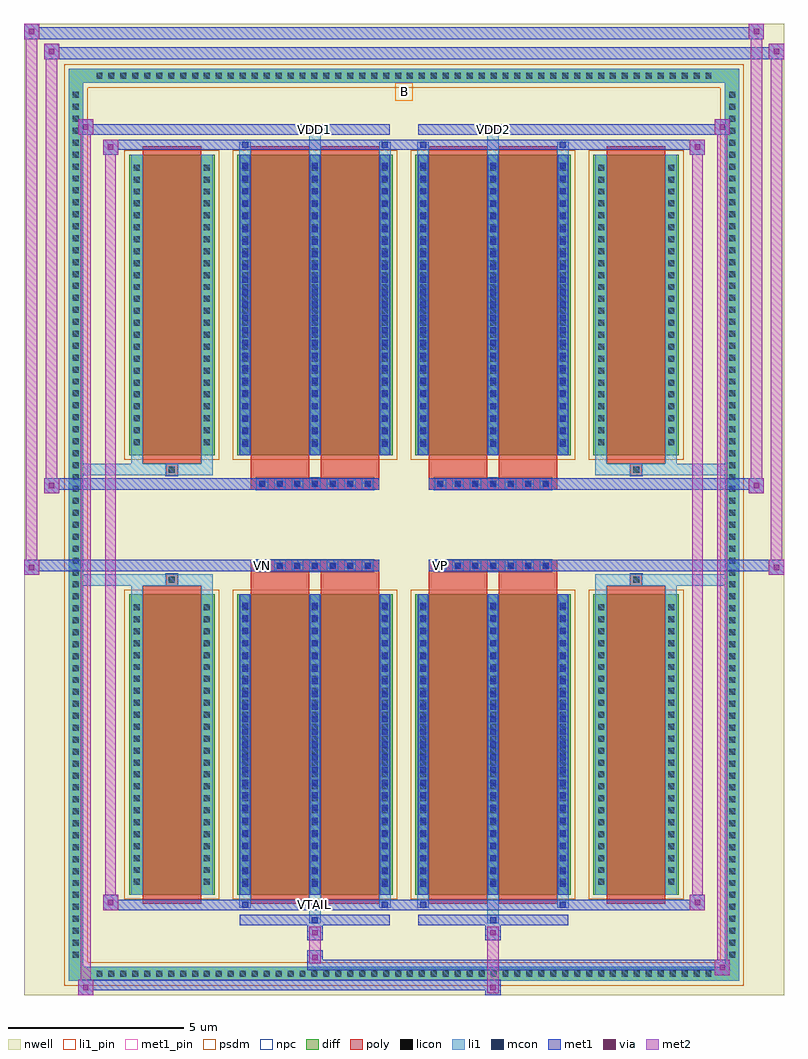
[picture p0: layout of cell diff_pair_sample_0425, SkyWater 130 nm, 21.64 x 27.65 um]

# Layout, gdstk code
import gdstk
lib = gdstk.Library(unit=1e-6, precision=5e-09)
def R(c, l, rs):  # rectangles x0, y0, x1, y1
    for r in rs: c.add(gdstk.rectangle(r[:2], r[2:], *l))
def A(c, l, x, y, w, h, nx, ny, dx, dy):  # array of equal rectangles
    R(c, l, [(x+i*dx, y+j*dy, x+i*dx+w, y+j*dy+h) for i in range(nx) for j in range(ny)])
def P(c, l, *ps):  # polygons
    for p in ps: c.add(gdstk.Polygon(p, *l))
nwell = (64, 20)
diff = (65, 20)
poly = (66, 20)
licon = (66, 44)
li1_pin = (67, 16)
li1 = (67, 20)
mcon = (67, 44)
met1_pin = (68, 16)
met1 = (68, 20)
via = (68, 44)
met2 = (69, 20)
psdm = (94, 20)
npc = (95, 20)

diff_pair_sample_0425 = lib.new_cell('diff_pair_sample_0425')
R(diff_pair_sample_0425, nwell, [(-10.82,-13.39,10.82,14.26), (-8.14,-11.58,-0.01,-0.8), (0.01,-11.58,8.14,-0.8), (-8.14,0.8,-0.01,11.58), (0.01,0.8,8.14,11.58)])
A(diff_pair_sample_0425, diff, -8.875, -12.99, 0.41, 0.41, 52, 2, 0.34, 25.57)
A(diff_pair_sample_0425, diff, -9.55, -12.445, 0.41, 0.41, 1, 73, 0, 0.34)
A(diff_pair_sample_0425, diff, 9.14, -12.445, 0.41, 0.41, 1, 73, 0, 0.34)
R(diff_pair_sample_0425, diff, [(-8.875,-12.99,8.875,-12.58), (-9.55,-12.445,-9.14,12.445), (9.14,-12.445,9.55,12.445), (-7.83,-10.535,-5.39,-1.985), (-4.75,-10.535,-0.32,-1.985), (0.32,-10.535,4.75,-1.985), (5.39,-10.535,7.83,-1.985), (-7.83,1.985,-5.39,10.535), (-4.75,1.985,-0.32,10.535), (0.32,1.985,4.75,10.535), (5.39,1.985,7.83,10.535), (-8.875,12.58,8.875,12.99)])
P(diff_pair_sample_0425, diff, [(9.55,12.99),(-9.55,12.99),(-9.55,-12.58),(-9.14,-12.58),(-9.14,12.58),(9.14,12.58),(9.14,-12.58),(-9.14,-12.58),(-9.55,-12.58),(-9.55,-12.99),(9.55,-12.99)])
A(diff_pair_sample_0425, poly, -4.2, -1.33, 0.33, 0.33, 7, 2, 0.5, 2.33)
A(diff_pair_sample_0425, poly, 0.87, -1.33, 0.33, 0.33, 7, 2, 0.5, 2.33)
R(diff_pair_sample_0425, poly, [(-7.44,-10.785,-5.78,-1.735), (-4.36,-10.785,-2.7,-1.735), (-2.37,-10.785,-0.71,-1.735), (0.71,-10.785,2.37,-1.735), (2.7,-10.785,4.36,-1.735), (5.78,-10.785,7.44,-1.735), (-6.775,-1.735,-6.445,-1.405), (-6.775,-1.735,-6.445,-1.405), (-4.36,-1.735,-2.7,-1.33), (-2.37,-1.735,-0.71,-1.33), (0.71,-1.735,2.37,-1.33), (2.7,-1.735,4.36,-1.33), (6.445,-1.735,6.775,-1.405), (6.445,-1.735,6.775,-1.405), (-4.36,-1.33,-0.71,-1), (0.71,-1.33,4.36,-1), (-4.36,1,-0.71,1.33), (0.71,1,4.36,1.33), (-4.36,1.33,-2.7,1.735), (-2.37,1.33,-0.71,1.735), (0.71,1.33,2.37,1.735), (2.7,1.33,4.36,1.735), (-6.775,1.405,-6.445,1.735), (-6.775,1.405,-6.445,1.735), (6.445,1.405,6.775,1.735), (6.445,1.405,6.775,1.735), (-7.44,1.735,-5.78,10.785), (-4.36,1.735,-2.7,10.785), (-2.37,1.735,-0.71,10.785), (0.71,1.735,2.37,10.785), (2.7,1.735,4.36,10.785), (5.78,1.735,7.44,10.785)])
A(diff_pair_sample_0425, licon, -8.755, -12.87, 0.17, 0.17, 52, 2, 0.34, 25.57)
A(diff_pair_sample_0425, licon, -9.43, -12.325, 0.17, 0.17, 1, 73, 0, 0.34)
A(diff_pair_sample_0425, licon, 9.26, -12.325, 0.17, 0.17, 1, 73, 0, 0.34)
A(diff_pair_sample_0425, licon, -7.69, -10.255, 0.17, 0.17, 1, 24, 0, 0.34)
A(diff_pair_sample_0425, licon, -5.7, -10.255, 0.17, 0.17, 1, 24, 0, 0.34)
A(diff_pair_sample_0425, licon, -4.61, -10.255, 0.17, 0.17, 3, 24, 1.99, 0.34)
A(diff_pair_sample_0425, licon, 0.46, -10.255, 0.17, 0.17, 3, 24, 1.99, 0.34)
A(diff_pair_sample_0425, licon, 5.53, -10.255, 0.17, 0.17, 1, 24, 0, 0.34)
A(diff_pair_sample_0425, licon, 7.52, -10.255, 0.17, 0.17, 1, 24, 0, 0.34)
A(diff_pair_sample_0425, licon, -4.12, -1.25, 0.17, 0.17, 7, 2, 0.5, 2.33)
A(diff_pair_sample_0425, licon, 0.95, -1.25, 0.17, 0.17, 7, 2, 0.5, 2.33)
A(diff_pair_sample_0425, licon, -7.69, 2.265, 0.17, 0.17, 1, 24, 0, 0.34)
A(diff_pair_sample_0425, licon, -5.7, 2.265, 0.17, 0.17, 1, 24, 0, 0.34)
A(diff_pair_sample_0425, licon, -4.61, 2.265, 0.17, 0.17, 3, 24, 1.99, 0.34)
A(diff_pair_sample_0425, licon, 0.46, 2.265, 0.17, 0.17, 3, 24, 1.99, 0.34)
A(diff_pair_sample_0425, licon, 5.53, 2.265, 0.17, 0.17, 1, 24, 0, 0.34)
A(diff_pair_sample_0425, licon, 7.52, 2.265, 0.17, 0.17, 1, 24, 0, 0.34)
R(diff_pair_sample_0425, licon, [(-6.695,-1.655,-6.525,-1.485), (6.525,-1.655,6.695,-1.485), (-6.695,1.485,-6.525,1.655), (6.525,1.485,6.695,1.655)])
R(diff_pair_sample_0425, li1_pin, [(-0.25,12.08,0.25,12.58)])
A(diff_pair_sample_0425, li1, -8.835, -12.95, 0.33, 0.33, 52, 2, 0.34, 25.57)
A(diff_pair_sample_0425, li1, -9.51, -12.405, 0.33, 0.33, 1, 73, 0, 0.34)
A(diff_pair_sample_0425, li1, 9.18, -12.405, 0.33, 0.33, 1, 73, 0, 0.34)
A(diff_pair_sample_0425, li1, -4.69, -10.535, 0.33, 8.55, 3, 2, 1.99, 12.52)
A(diff_pair_sample_0425, li1, 0.38, -10.535, 0.33, 8.55, 3, 2, 1.99, 12.52)
A(diff_pair_sample_0425, li1, -7.77, -10.335, 0.33, 0.33, 1, 24, 0, 0.34)
A(diff_pair_sample_0425, li1, -5.78, -10.335, 0.33, 0.33, 1, 24, 0, 0.34)
A(diff_pair_sample_0425, li1, -4.69, -10.335, 0.33, 0.33, 3, 24, 1.99, 0.34)
A(diff_pair_sample_0425, li1, 0.38, -10.335, 0.33, 0.33, 3, 24, 1.99, 0.34)
A(diff_pair_sample_0425, li1, 5.45, -10.335, 0.33, 0.33, 1, 24, 0, 0.34)
A(diff_pair_sample_0425, li1, 7.44, -10.335, 0.33, 0.33, 1, 24, 0, 0.34)
A(diff_pair_sample_0425, li1, -4.61, -10.305, 0.17, 0.17, 3, 23, 1.99, 0.36)
A(diff_pair_sample_0425, li1, -4.61, -10.305, 0.17, 8.09, 3, 2, 1.99, 12.52)
A(diff_pair_sample_0425, li1, 0.46, -10.305, 0.17, 0.17, 3, 23, 1.99, 0.36)
A(diff_pair_sample_0425, li1, 0.46, -10.305, 0.17, 8.09, 3, 2, 1.99, 12.52)
A(diff_pair_sample_0425, li1, -4.2, -1.33, 0.33, 0.33, 7, 2, 0.5, 2.33)
A(diff_pair_sample_0425, li1, 0.87, -1.33, 0.33, 0.33, 7, 2, 0.5, 2.33)
A(diff_pair_sample_0425, li1, -7.77, 2.185, 0.33, 0.33, 1, 24, 0, 0.34)
A(diff_pair_sample_0425, li1, -5.78, 2.185, 0.33, 0.33, 1, 24, 0, 0.34)
A(diff_pair_sample_0425, li1, -4.69, 2.185, 0.33, 0.33, 3, 24, 1.99, 0.34)
A(diff_pair_sample_0425, li1, 0.38, 2.185, 0.33, 0.33, 3, 24, 1.99, 0.34)
A(diff_pair_sample_0425, li1, 5.45, 2.185, 0.33, 0.33, 1, 24, 0, 0.34)
A(diff_pair_sample_0425, li1, 7.44, 2.185, 0.33, 0.33, 1, 24, 0, 0.34)
A(diff_pair_sample_0425, li1, -4.61, 2.215, 0.17, 0.17, 3, 23, 1.99, 0.36)
A(diff_pair_sample_0425, li1, 0.46, 2.215, 0.17, 0.17, 3, 23, 1.99, 0.36)
R(diff_pair_sample_0425, li1, [(-9.55,-12.99,-9.14,-12.58), (-9.55,-12.99,-9.14,-12.58), (-9.14,-12.99,9.14,-12.58), (9.14,-12.99,9.55,-12.58), (9.14,-12.99,9.55,-12.58), (-9.55,-12.58,-9.14,12.58), (9.14,-12.58,9.55,12.58), (-2.7,-11.34,-2.37,-10.535), (-2.62,-11.34,-2.45,-11.17), (2.37,-11.34,2.7,-10.535), (2.45,-11.34,2.62,-11.17), (-4.69,-10.91,-4.36,-10.535), (-4.61,-10.91,-4.44,-10.74), (-0.71,-10.91,-0.38,-10.535), (-0.63,-10.91,-0.46,-10.74), (0.38,-10.91,0.71,-10.535), (0.46,-10.91,0.63,-10.74), (4.36,-10.91,4.69,-10.535), (4.44,-10.91,4.61,-10.74), (-7.77,-10.535,-7.44,-1.985), (-5.78,-10.535,-5.45,-1.985), (5.45,-10.535,5.78,-1.985), (7.44,-10.535,7.77,-1.985), (-7.77,-1.985,-7.44,-1.405), (-5.78,-1.985,-5.45,-1.405), (5.45,-1.985,5.78,-1.405), (7.44,-1.985,7.77,-1.405), (-9.55,-1.735,-6.775,-1.405), (-7.77,-1.735,-6.775,-1.405), (-6.775,-1.735,-6.445,-1.405), (-6.445,-1.735,-5.45,-1.405), (5.45,-1.735,6.445,-1.405), (6.445,-1.735,6.775,-1.405), (6.445,-1.735,9.55,-1.405), (6.775,-1.735,7.77,-1.405), (-9.55,1.405,-6.775,1.735), (-7.77,1.405,-6.775,1.735), (-7.77,1.405,-7.44,1.985), (-6.775,1.405,-6.445,1.735), (-6.445,1.405,-5.45,1.735), (-5.78,1.405,-5.45,1.985), (5.45,1.405,6.445,1.735), (5.45,1.405,5.78,1.985), (6.445,1.405,6.775,1.735), (6.445,1.405,9.55,1.735), (6.775,1.405,7.77,1.735), (7.44,1.405,7.77,1.985), (-7.77,1.985,-7.44,10.535), (-5.78,1.985,-5.45,10.535), (5.45,1.985,5.78,10.535), (7.44,1.985,7.77,10.535), (-4.69,10.535,-4.36,10.91), (-2.7,10.535,-2.37,11.34), (-0.71,10.535,-0.38,10.91), (0.38,10.535,0.71,10.91), (2.37,10.535,2.7,11.34), (4.36,10.535,4.69,10.91), (-4.61,10.74,-4.44,10.91), (-0.63,10.74,-0.46,10.91), (0.46,10.74,0.63,10.91), (4.44,10.74,4.61,10.91), (-2.62,11.17,-2.45,11.34), (2.45,11.17,2.62,11.34), (-9.55,12.58,-9.14,12.99), (-9.55,12.58,-9.14,12.99), (-9.14,12.58,9.14,12.99), (9.14,12.58,9.55,12.99), (9.14,12.58,9.55,12.99)])
A(diff_pair_sample_0425, mcon, -4.61, -10.305, 0.17, 0.17, 3, 23, 1.99, 0.36)
A(diff_pair_sample_0425, mcon, 0.46, -10.305, 0.17, 0.17, 3, 23, 1.99, 0.36)
A(diff_pair_sample_0425, mcon, -4.12, -1.25, 0.17, 0.17, 7, 2, 0.5, 2.33)
A(diff_pair_sample_0425, mcon, 0.95, -1.25, 0.17, 0.17, 7, 2, 0.5, 2.33)
A(diff_pair_sample_0425, mcon, -4.61, 2.215, 0.17, 0.17, 3, 23, 1.99, 0.36)
A(diff_pair_sample_0425, mcon, 0.46, 2.215, 0.17, 0.17, 3, 23, 1.99, 0.36)
R(diff_pair_sample_0425, mcon, [(-2.62,-11.34,-2.45,-11.17), (2.45,-11.34,2.62,-11.17), (-4.61,-10.91,-4.44,-10.74), (-0.63,-10.91,-0.46,-10.74), (0.46,-10.91,0.63,-10.74), (4.44,-10.91,4.61,-10.74), (-4.61,10.74,-4.44,10.91), (-0.63,10.74,-0.46,10.91), (0.46,10.74,0.63,10.91), (4.44,10.74,4.61,10.91), (-2.62,11.17,-2.45,11.34), (2.45,11.17,2.62,11.34)])
R(diff_pair_sample_0425, met1_pin, [(-2.67,-10.95,-2.4,-10.68), (-4.17,-1.29,-3.9,-1.02), (0.9,-1.29,1.17,-1.02), (-2.67,11.13,-2.4,11.4), (2.4,11.13,2.67,11.4)])
A(diff_pair_sample_0425, met1, -4.67, -10.535, 0.29, 8.55, 3, 2, 1.99, 12.52)
A(diff_pair_sample_0425, met1, 0.4, -10.535, 0.29, 8.55, 3, 2, 1.99, 12.52)
A(diff_pair_sample_0425, met1, -4.67, -10.365, 0.29, 0.29, 3, 23, 1.99, 0.36)
A(diff_pair_sample_0425, met1, 0.4, -10.365, 0.29, 0.29, 3, 23, 1.99, 0.36)
A(diff_pair_sample_0425, met1, -4.18, -1.31, 0.29, 0.29, 7, 2, 0.5, 2.33)
A(diff_pair_sample_0425, met1, 0.89, -1.31, 0.29, 0.29, 7, 2, 0.5, 2.33)
A(diff_pair_sample_0425, met1, -4.67, 2.155, 0.29, 0.29, 3, 23, 1.99, 0.36)
A(diff_pair_sample_0425, met1, 0.4, 2.155, 0.29, 0.29, 3, 23, 1.99, 0.36)
R(diff_pair_sample_0425, met1, [(-9.28,-13.39,-8.85,-12.96), (2.32,-13.39,2.75,-12.96), (-9.28,-13.25,2.75,-12.96), (8.85,-12.82,9.28,-12.39), (-2.75,-12.68,9.28,-12.39), (-2.75,-12.54,-2.32,-12.11), (-2.75,-11.83,-2.32,-11.4), (2.32,-11.83,2.75,-11.4), (-4.67,-11.4,-0.4,-11.11), (-2.68,-11.4,-2.39,-11.11), (0.4,-11.4,4.67,-11.11), (2.39,-11.4,2.68,-11.11), (-8.57,-10.97,-8.14,-10.54), (-8.57,-10.97,-4.67,-10.68), (-4.67,-10.97,-4.38,-10.68), (-4.67,-10.97,-0.4,-10.68), (-0.69,-10.97,-0.4,-10.68), (-0.4,-10.97,0.4,-10.68), (0.4,-10.97,0.69,-10.68), (0.4,-10.97,4.67,-10.68), (4.38,-10.97,4.67,-10.68), (4.67,-10.97,8.57,-10.68), (8.14,-10.97,8.57,-10.54), (-10.82,-1.43,-10.39,-1), (10.39,-1.43,10.82,-1), (-10.82,-1.33,-0.71,-1), (-4.36,-1.33,-0.71,-1), (0.71,-1.33,4.36,-1), (0.71,-1.33,10.82,-1), (-10.25,0.9,-9.82,1.33), (9.82,0.9,10.25,1.33), (-10.25,1,-4.36,1.33), (-4.36,1,-0.71,1.33), (0.71,1,4.36,1.33), (4.36,1,10.25,1.33), (-8.57,10.54,-8.14,10.97), (8.14,10.54,8.57,10.97), (-8.57,10.68,-4.67,10.97), (-4.67,10.68,-4.38,10.97), (-4.67,10.68,-0.4,10.97), (-0.69,10.68,-0.4,10.97), (-0.4,10.68,0.4,10.97), (0.4,10.68,0.69,10.97), (0.4,10.68,4.67,10.97), (4.38,10.68,4.67,10.97), (4.67,10.68,8.57,10.97), (-9.28,11.11,-8.85,11.54), (-9.28,11.11,-4.67,11.4), (-4.67,11.11,-0.4,11.4), (-2.68,11.11,-2.39,11.4), (0.4,11.11,4.67,11.4), (2.39,11.11,2.68,11.4), (4.67,11.11,9.28,11.4), (8.85,11.11,9.28,11.54), (-10.25,13.26,-9.82,13.69), (-10.25,13.26,-8.14,13.59), (-8.14,13.26,8.14,13.59), (8.14,13.26,10.82,13.59), (10.39,13.26,10.82,13.69), (-10.82,13.83,-10.39,14.26), (-10.82,13.83,-8.14,14.16), (-8.14,13.83,8.14,14.16), (8.14,13.83,10.25,14.16), (9.82,13.83,10.25,14.26)])
R(diff_pair_sample_0425, via, [(-9.14,-13.25,-8.99,-13.1), (2.46,-13.25,2.61,-13.1), (8.99,-12.68,9.14,-12.53), (-2.61,-12.4,-2.46,-12.25), (-2.61,-11.69,-2.46,-11.54), (2.46,-11.69,2.61,-11.54), (-8.43,-10.83,-8.28,-10.68), (8.28,-10.83,8.43,-10.68), (-10.68,-1.29,-10.53,-1.14), (10.53,-1.29,10.68,-1.14), (-10.11,1.04,-9.96,1.19), (9.96,1.04,10.11,1.19), (-8.43,10.68,-8.28,10.83), (8.28,10.68,8.43,10.83), (-9.14,11.25,-8.99,11.4), (8.99,11.25,9.14,11.4), (-10.11,13.4,-9.96,13.55), (10.53,13.4,10.68,13.55), (-10.68,13.97,-10.53,14.12), (9.96,13.97,10.11,14.12)])
R(diff_pair_sample_0425, met2, [(-9.28,-13.39,-8.85,-12.96), (-9.21,-13.39,-8.92,11.54), (-8.92,-13.39,-8.85,-12.96), (-9.23,-13.34,-8.9,-13.01), (2.37,-13.34,2.7,-13.01), (2.37,-13.01,2.7,-11.78), (8.85,-12.82,9.28,-12.39), (8.92,-12.82,9.21,11.54), (9.21,-12.82,9.28,-12.39), (8.9,-12.77,9.23,-12.44), (-2.7,-12.49,-2.37,-12.16), (-2.7,-12.16,-2.37,-11.78), (-2.7,-11.78,-2.37,-11.45), (2.37,-11.78,2.7,-11.45), (-8.57,-10.97,-8.14,-10.54), (-8.5,-10.97,-8.21,10.97), (-8.21,-10.97,-8.14,-10.54), (8.14,-10.97,8.57,-10.54), (8.21,-10.97,8.5,10.97), (8.5,-10.97,8.57,-10.54), (-8.52,-10.92,-8.19,-10.59), (8.19,-10.92,8.52,-10.59), (-10.82,-1.43,-10.39,-1), (-10.77,-1.43,-10.44,14.26), (-10.44,-1.43,-10.39,-1), (10.39,-1.43,10.82,-1), (10.44,-1.43,10.77,13.69), (10.77,-1.43,10.82,-1), (-10.77,-1.38,-10.44,-1.05), (10.44,-1.38,10.77,-1.05), (-10.25,0.9,-9.82,1.33), (-10.2,0.9,-9.87,13.69), (-9.87,0.9,-9.82,1.33), (9.82,0.9,10.25,1.33), (9.87,0.9,10.2,14.26), (10.2,0.9,10.25,1.33), (-10.2,0.95,-9.87,1.28), (9.87,0.95,10.2,1.28), (-8.57,10.54,-8.14,10.97), (-8.21,10.54,-8.14,10.97), (8.14,10.54,8.57,10.97), (8.5,10.54,8.57,10.97), (-8.52,10.59,-8.19,10.92), (8.19,10.59,8.52,10.92), (-9.28,11.11,-8.85,11.54), (-8.92,11.11,-8.85,11.54), (8.85,11.11,9.28,11.54), (9.21,11.11,9.28,11.54), (-9.23,11.16,-8.9,11.49), (8.9,11.16,9.23,11.49), (-10.25,13.26,-9.82,13.69), (-9.87,13.26,-9.82,13.69), (10.39,13.26,10.82,13.69), (10.77,13.26,10.82,13.69), (-10.2,13.31,-9.87,13.64), (10.44,13.31,10.77,13.64), (-10.82,13.83,-10.39,14.26), (-10.44,13.83,-10.39,14.26), (9.82,13.83,10.25,14.26), (10.2,13.83,10.25,14.26), (-10.77,13.88,-10.44,14.21), (9.87,13.88,10.2,14.21)])
R(diff_pair_sample_0425, psdm, [(-7.96,-10.665,-5.26,-1.855), (-4.88,-10.665,-0.19,-1.855), (0.19,-10.665,4.88,-1.855), (5.26,-10.665,7.96,-1.855), (-7.96,1.855,-5.26,10.665), (-4.88,1.855,-0.19,10.665), (0.19,1.855,4.88,10.665), (5.26,1.855,7.96,10.665)])
P(diff_pair_sample_0425, psdm, [(9.68,13.12),(-9.68,13.12),(-9.68,-12.45),(-9.01,-12.45),(-9.01,12.45),(9.01,12.45),(9.01,-12.45),(-9.01,-12.45),(-9.68,-12.45),(-9.68,-13.12),(9.68,-13.12)])
A(diff_pair_sample_0425, npc, -4.22, -1.35, 0.37, 0.37, 7, 2, 0.5, 2.33)
A(diff_pair_sample_0425, npc, 0.85, -1.35, 0.37, 0.37, 7, 2, 0.5, 2.33)
R(diff_pair_sample_0425, npc, [(-6.795,-1.755,-6.425,-1.385), (6.425,-1.755,6.795,-1.385), (-4.22,-1.35,-3.35,-0.98), (-4.22,-1.35,-3.35,-0.98), (-3.72,-1.35,-2.85,-0.98), (-3.72,-1.35,-2.85,-0.98), (-3.22,-1.35,-2.35,-0.98), (-3.22,-1.35,-2.35,-0.98), (-2.72,-1.35,-1.85,-0.98), (-2.72,-1.35,-1.85,-0.98), (-2.22,-1.35,-1.35,-0.98), (-2.22,-1.35,-1.35,-0.98), (-1.72,-1.35,-0.85,-0.98), (-1.72,-1.35,-0.85,-0.98), (0.85,-1.35,1.72,-0.98), (0.85,-1.35,1.72,-0.98), (1.35,-1.35,2.22,-0.98), (1.35,-1.35,2.22,-0.98), (1.85,-1.35,2.72,-0.98), (1.85,-1.35,2.72,-0.98), (2.35,-1.35,3.22,-0.98), (2.35,-1.35,3.22,-0.98), (2.85,-1.35,3.72,-0.98), (2.85,-1.35,3.72,-0.98), (3.35,-1.35,4.22,-0.98), (3.35,-1.35,4.22,-0.98), (-4.22,0.98,-3.35,1.35), (-4.22,0.98,-3.35,1.35), (-3.72,0.98,-2.85,1.35), (-3.72,0.98,-2.85,1.35), (-3.22,0.98,-2.35,1.35), (-3.22,0.98,-2.35,1.35), (-2.72,0.98,-1.85,1.35), (-2.72,0.98,-1.85,1.35), (-2.22,0.98,-1.35,1.35), (-2.22,0.98,-1.35,1.35), (-1.72,0.98,-0.85,1.35), (-1.72,0.98,-0.85,1.35), (0.85,0.98,1.72,1.35), (0.85,0.98,1.72,1.35), (1.35,0.98,2.22,1.35), (1.35,0.98,2.22,1.35), (1.85,0.98,2.72,1.35), (1.85,0.98,2.72,1.35), (2.35,0.98,3.22,1.35), (2.35,0.98,3.22,1.35), (2.85,0.98,3.72,1.35), (2.85,0.98,3.72,1.35), (3.35,0.98,4.22,1.35), (3.35,0.98,4.22,1.35), (-6.795,1.385,-6.425,1.755), (6.425,1.385,6.795,1.755)])
diff_pair_sample_0425.add(gdstk.Label('VTAIL', (-2.535,-10.815), layer=68, texttype=5))
diff_pair_sample_0425.add(gdstk.Label('VN', (-4.035,-1.155), layer=68, texttype=5))
diff_pair_sample_0425.add(gdstk.Label('VP', (1.035,-1.155), layer=68, texttype=5))
diff_pair_sample_0425.add(gdstk.Label('B', (0,12.33), layer=67, texttype=5))
diff_pair_sample_0425.add(gdstk.Label('VDD2', (2.535,11.265), layer=68, texttype=5))
diff_pair_sample_0425.add(gdstk.Label('VDD1', (-2.535,11.265), layer=68, texttype=5))

lib.write_gds('diff_pair_sample_0425.gds')
